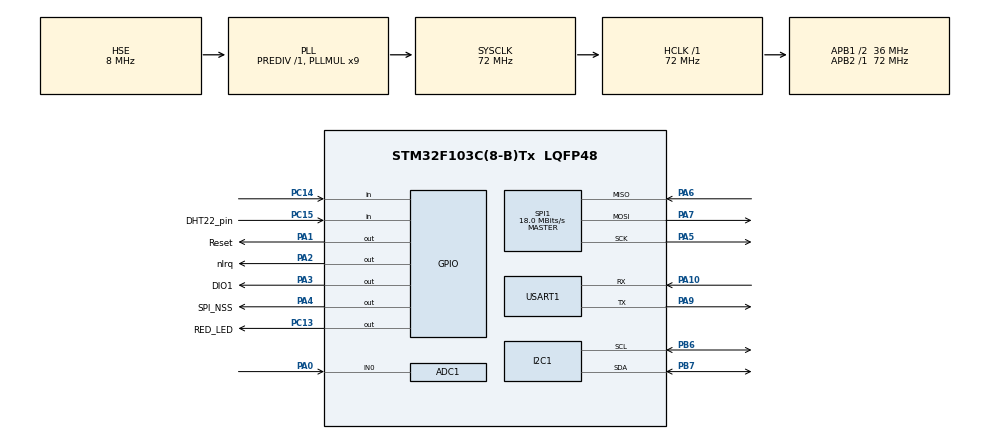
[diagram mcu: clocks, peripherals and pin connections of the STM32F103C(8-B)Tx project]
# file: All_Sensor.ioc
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ADC1.Channel-11\#ChannelRegularConversion=ADC_CHANNEL_0
ADC1.ContinuousConvMode=DISABLE
ADC1.DataAlign=ADC_DATAALIGN_RIGHT
ADC1.DiscontinuousConvMode=DISABLE
ADC1.EnableAnalogWatchDog=false
ADC1.EnableRegularConversion=ENABLE
ADC1.ExternalTrigConv=ADC_SOFTWARE_START
ADC1.InjNumberOfConversion=0
ADC1.NbrOfConversion=1
ADC1.NbrOfConversionFlag=1
ADC1.Rank-11\#ChannelRegularConversion=1
ADC1.SamplingTime-11\#ChannelRegularConversion=ADC_SAMPLETIME_1CYCLE_5
ADC1.ScanConvMode=ADC_SCAN_DISABLE
ADC1.master=1
Mcu.Family=STM32F1
Mcu.Name=STM32F103C(8-B)Tx
Mcu.Package=LQFP48
NVIC.PriorityGroup=NVIC_PRIORITYGROUP_4
PA0-WKUP.Signal=ADCx_IN0
PA1.GPIO_Label=Reset
PA1.Signal=GPIO_Output
PA10.Mode=Asynchronous
PA10.Signal=USART1_RX
PA13.Mode=Serial_Wire
PA13.Signal=SYS_JTMS-SWDIO
PA14.Mode=Serial_Wire
PA14.Signal=SYS_JTCK-SWCLK
PA2.GPIO_Label=nIrq
PA2.Signal=GPIO_Output
PA3.GPIO_Label=DIO1
PA3.Signal=GPIO_Output
PA4.GPIO_Label=SPI_NSS
PA4.Signal=GPIO_Output
PA5.Mode=Full_Duplex_Master
PA5.Signal=SPI1_SCK
PA6.Mode=Full_Duplex_Master
PA6.Signal=SPI1_MISO
PA7.Mode=Full_Duplex_Master
PA7.Signal=SPI1_MOSI
PA9.Mode=Asynchronous
PA9.Signal=USART1_TX
PB6.Mode=I2C
PB6.Signal=I2C1_SCL
PB7.Mode=I2C
PB7.Signal=I2C1_SDA
PC13-TAMPER-RTC.GPIO_Label=RED_LED
PC13-TAMPER-RTC.Signal=GPIO_Output
PC14-OSC32_IN.Signal=GPIO_Input
PC15-OSC32_OUT.GPIO_Label=DHT22_pin
PC15-OSC32_OUT.Signal=GPIO_Input
PD0-OSC_IN.Mode=HSE-External-Oscillator
PD0-OSC_IN.Signal=RCC_OSC_IN
PD1-OSC_OUT.Mode=HSE-External-Oscillator
PD1-OSC_OUT.Signal=RCC_OSC_OUT
ProjectManager.HeapSize=0x200
ProjectManager.StackSize=0x400
ProjectManager.TargetToolchain=MDK-ARM V5
RCC.ADCPresc=RCC_ADCPCLK2_DIV6
RCC.AHBFreq_Value=72000000
RCC.APB1CLKDivider=RCC_HCLK_DIV2
RCC.APB1Freq_Value=36000000
RCC.APB1TimFreq_Value=72000000
RCC.APB2Freq_Value=72000000
RCC.APB2TimFreq_Value=72000000
RCC.HCLKFreq_Value=72000000
RCC.PLLMUL=RCC_PLL_MUL9
RCC.PLLSourceVirtual=RCC_PLLSOURCE_HSE
RCC.SYSCLKFreq_VALUE=72000000
RCC.SYSCLKSource=RCC_SYSCLKSOURCE_PLLCLK
RCC.USBFreq_Value=72000000
SH.ADCx_IN0.0=ADC1_IN0,IN0
SPI1.BaudRatePrescaler=SPI_BAUDRATEPRESCALER_4
SPI1.CalculateBaudRate=18.0 MBits/s
SPI1.Direction=SPI_DIRECTION_2LINES
SPI1.Mode=SPI_MODE_MASTER
SPI1.VirtualType=VM_MASTER
TIM1.Period=0xffff
TIM1.Prescaler=72-1
USART1.VirtualMode=VM_ASYNC
VP_TIM1_VS_ClockSourceINT.Mode=Internal
board=ADC_UART

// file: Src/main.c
/**
  ******************************************************************************
  * File Name          : main.c
  * Description        : Main program body
  ******************************************************************************
  ** This notice applies to any and all portions of this file
  * that are not between comment pairs USER CODE BEGIN and
  * USER CODE END. Other portions of this file, whether
  * inserted by the user or by software development tools
  * are owned by their respective copyright owners.
  *
  * COPYRIGHT(c) 2020 STMicroelectronics
  *
  * Redistribution and use in source and binary forms, with or without modification,
  * are permitted provided that the following conditions are met:
  *   1. Redistributions of source code must retain the above copyright notice,
  *      this list of conditions and the following disclaimer.
  *   2. Redistributions in binary form must reproduce the above copyright notice,
  *      this list of conditions and the following disclaimer in the documentation
  *      and/or other materials provided with the distribution.
  *   3. Neither the name of STMicroelectronics nor the names of its contributors
  *      may be used to endorse or promote products derived from this software
  *      without specific prior written permission.
  *
  * THIS SOFTWARE IS PROVIDED BY THE COPYRIGHT HOLDERS AND CONTRIBUTORS "AS IS"
  * AND ANY EXPRESS OR IMPLIED WARRANTIES, INCLUDING, BUT NOT LIMITED TO, THE
  * IMPLIED WARRANTIES OF MERCHANTABILITY AND FITNESS FOR A PARTICULAR PURPOSE ARE
  * DISCLAIMED. IN NO EVENT SHALL THE COPYRIGHT HOLDER OR CONTRIBUTORS BE LIABLE
  * FOR ANY DIRECT, INDIRECT, INCIDENTAL, SPECIAL, EXEMPLARY, OR CONSEQUENTIAL
  * DAMAGES (INCLUDING, BUT NOT LIMITED TO, PROCUREMENT OF SUBSTITUTE GOODS OR
  * SERVICES; LOSS OF USE, DATA, OR PROFITS; OR BUSINESS INTERRUPTION) HOWEVER
  * CAUSED AND ON ANY THEORY OF LIABILITY, WHETHER IN CONTRACT, STRICT LIABILITY,
  * OR TORT (INCLUDING NEGLIGENCE OR OTHERWISE) ARISING IN ANY WAY OUT OF THE USE
  * OF THIS SOFTWARE, EVEN IF ADVISED OF THE POSSIBILITY OF SUCH DAMAGE.
  *
  ******************************************************************************
  */
#include "main.h"
#include "stm32f1xx_hal.h"

/* USER CODE BEGIN Includes */
#include "mainApp.h"
#include "stdio.h"
#include "stdlib.h"
#include "stdbool.h"
#include "bmp280.h"
#include "math.h"

/* USER CODE END Includes */

ADC_HandleTypeDef hadc1;

I2C_HandleTypeDef hi2c1;

SPI_HandleTypeDef hspi1;

TIM_HandleTypeDef htim1;

UART_HandleTypeDef huart1;

/* USER CODE BEGIN PV */
/* Private variables ---------------------------------------------------------*/

/* USER CODE END PV */

void SystemClock_Config(void);
static void MX_GPIO_Init(void);
static void MX_USART1_UART_Init(void);
static void MX_ADC1_Init(void);
static void MX_SPI1_Init(void);
static void MX_TIM1_Init(void);
static void MX_I2C1_Init(void);

/* USER CODE BEGIN PFP */
/* Private function prototypes -----------------------------------------------*/
//********************************
// Be sure to have proper 3.3vlt power supply
// ADC and DHT22 consume lots of lower
//********************************
//===============================
//			DHT		      	STM32f103
//-------------------------------
//		DATA OUT					PC15
//      VCC             3.3vlt
//      GND             Gnd
//===============================
//     Touch 					STM32F103
// -------------------------------
//     Output	 					PC14
//================================
// (gnd)---LDR----|----10k---3.3
//								PA0
//--------------------------------
//      ADC						STM32F103
//--------------------------------
//			out						   PA0
//      LDR Pin					 GND
//			10k pin					 Vcc(3.3)
//================================
//     UART           STM32f103
//--------------------------------
//      RX               PA9
//      TX							 PA10
//================================
//	  BMP280      STM32F103
// 	   VCC          3.3vlt
//   	 Gnd          Gnd
//   	 SCL          B6
//   	 SDA          B7
//********************************

/* USER CODE END PFP */

/* USER CODE BEGIN 0 */

uint8_t Rh_byte1, Rh_byte2, Temp_byte1, Temp_byte2;
uint16_t sum, RH, TEMP;
uint8_t check = 0;
float t,r;
bool touch ;
uint16_t adcResult = 0;
float altitude ,pressure, p, temperature, humidity;

uint16_t size;
uint8_t Data[25];
float lumen;

//**************************************************
//char buf_temp[100],buf_humid[100];
char buff[100];
//char transmit_char[100];
//**************************************************

void delay_us (uint16_t us);
void set_gpio_input (void);
void set_gpio_output(void);
void DHT22_start (void);
void check_response (void);
uint8_t read_data (void);
long map(long x, long in_min, long in_max, long out_min, long out_max);

GPIO_InitTypeDef GPIO_InitStruct;
BMP280_HandleTypedef bmp280;

/* USER CODE END 0 */

int main(void)
{

  /* MCU Configuration----------------------------------------------------------*/

  /* Reset of all peripherals, Initializes the Flash interface and the Systick. */
  HAL_Init();

  /* Configure the system clock */
  SystemClock_Config();

  /* Initialize all configured peripherals */
  MX_GPIO_Init();
  MX_USART1_UART_Init();
  MX_ADC1_Init();
  MX_SPI1_Init();
  MX_TIM1_Init();
  MX_I2C1_Init();

  /* USER CODE BEGIN 2 */
	HAL_TIM_Base_Start(&htim1);
	HAL_UART_Transmit(&huart1, (uint8_t *)"STARTING SENSORS READING\r\n",sizeof("STARTING SENSORS READING\r\n"),100);
	HAL_Delay(1000);

	bmp280_init_default_params(&bmp280.params);
	bmp280.addr = BMP280_I2C_ADDRESS_0;
	bmp280.i2c = &hi2c1;

	HAL_Delay(500);
	HAL_UART_Transmit(&huart1,(uint8_t *) " Trying BMP280 initialization\r\n",sizeof(" Trying BMP280 initialization\r\n"), 100);
	while (!(bmp280_init(&bmp280, &bmp280.params)))
		{
			HAL_UART_Transmit(&huart1, (uint8_t*)".", sizeof("."), 1000);
			bmp280_init_default_params(&bmp280.params);
			HAL_Delay(90);
		}
	bool bme280p = bmp280.id == BMP280_CHIP_ID;
	size = sprintf((char *)Data, "BMP280: found %s\r\n", bme280p ? "BME280" : "BMP280");
	HAL_UART_Transmit(&huart1, Data, size, 1000);

  /* USER CODE END 2 */

  /* Infinite loop */
  while (1)
  {

  /* USER CODE BEGIN 3 */
//====================DHT22====================================
		DHT22_start ();
		check_response();

		Rh_byte1 = read_data ();
		Rh_byte2 = read_data ();
		Temp_byte1 = read_data ();
		Temp_byte2 = read_data ();
		sum = read_data();

		TEMP = ((Temp_byte1<<8)|Temp_byte2);
		RH = ((Rh_byte1<<8)|Rh_byte2);

   	t=TEMP*0.1;
	  r=RH*0.1;

//===============================================================
//=============================ADC DATA=======================
				HAL_ADC_Start(&hadc1);
				HAL_ADC_PollForConversion(&hadc1, 100);

				adcResult = HAL_ADC_GetValue(&hadc1);

				HAL_ADC_Stop(&hadc1);
				lumen =  map(adcResult, 3300.00 , 700.00, 0.0 , 100.0);
//=============================================================
				HAL_Delay(100);
//==========================Read BMP280 Data===================
		if (!bmp280_read_float(&bmp280, &temperature, &pressure, &humidity))
			{
				pressure = 0;
				altitude = 0;

//			//size = sprintf((char *)Data,
//					"Temperature/pressure reading failed\n");
//			//HAL_UART_Transmit(&huart1, Data, size, 1000);
//			//HAL_Delay(100);
				}
		else
			{
				p = pressure/100;
				altitude = 44330.0*(1-pow(p/1013.25, 1/5.255));
			}
		//  size = sprintf((char *)Data,"\nPressure: %.2f Pa, Temperature: %.2f C , Altitude: %.2f m\r\n",
		//		pressure, temperature , altitude);
		//size = sprintf((char *)Data,"\nPressure: %.2f Pa, Temperature: %.2f C \r\n",
		//		pressure, temperature);
		//HAL_UART_Transmit(&huart1, Data, size, 1000);
//		if (bme280p) {
//			//size = sprintf((char *)Data,", Humidity: %.2f\n", humidity);
//			//HAL_UART_Transmit(&huart1, Data, size, 1000);
//		}

//		else {
//			size = sprintf((char *)Data, "\n");
//			HAL_UART_Transmit(&huart1, Data, size, 1000);
//		}
		HAL_Delay(500);
//========================================================================
//====================================Touch read==========================
			touch = 	HAL_GPIO_ReadPin(GPIOC,GPIO_PIN_14);
//========================================================================
			int len = sprintf(buff," sw :%s lum :%.2f T :%.2f H :%.2f P: %.2f Alt: %.2f\r\n", (touch ? "ON" : "OFF"),lumen ,t,r,pressure,altitude);
			HAL_UART_Transmit(&huart1,(uint8_t *) buff, len, 100);
			HAL_Delay(500);

	// mainApp();
  }
  /* USER CODE END 3 */

}

/** System Clock Configuration
*/
void SystemClock_Config(void)
{

  RCC_OscInitTypeDef RCC_OscInitStruct;
  RCC_ClkInitTypeDef RCC_ClkInitStruct;
  RCC_PeriphCLKInitTypeDef PeriphClkInit;

    /**Initializes the CPU, AHB and APB busses clocks
    */
  RCC_OscInitStruct.OscillatorType = RCC_OSCILLATORTYPE_HSE;
  RCC_OscInitStruct.HSEState = RCC_HSE_ON;
  RCC_OscInitStruct.HSEPredivValue = RCC_HSE_PREDIV_DIV1;
  RCC_OscInitStruct.HSIState = RCC_HSI_ON;
  RCC_OscInitStruct.PLL.PLLState = RCC_PLL_ON;
  RCC_OscInitStruct.PLL.PLLSource = RCC_PLLSOURCE_HSE;
  RCC_OscInitStruct.PLL.PLLMUL = RCC_PLL_MUL9;
  if (HAL_RCC_OscConfig(&RCC_OscInitStruct) != HAL_OK)
  {
    _Error_Handler(__FILE__, __LINE__);
  }

    /**Initializes the CPU, AHB and APB busses clocks
    */
  RCC_ClkInitStruct.ClockType = RCC_CLOCKTYPE_HCLK|RCC_CLOCKTYPE_SYSCLK
                              |RCC_CLOCKTYPE_PCLK1|RCC_CLOCKTYPE_PCLK2;
  RCC_ClkInitStruct.SYSCLKSource = RCC_SYSCLKSOURCE_PLLCLK;
  RCC_ClkInitStruct.AHBCLKDivider = RCC_SYSCLK_DIV1;
  RCC_ClkInitStruct.APB1CLKDivider = RCC_HCLK_DIV2;
  RCC_ClkInitStruct.APB2CLKDivider = RCC_HCLK_DIV1;

  if (HAL_RCC_ClockConfig(&RCC_ClkInitStruct, FLASH_LATENCY_2) != HAL_OK)
  {
    _Error_Handler(__FILE__, __LINE__);
  }

  PeriphClkInit.PeriphClockSelection = RCC_PERIPHCLK_ADC;
  PeriphClkInit.AdcClockSelection = RCC_ADCPCLK2_DIV6;
  if (HAL_RCCEx_PeriphCLKConfig(&PeriphClkInit) != HAL_OK)
  {
    _Error_Handler(__FILE__, __LINE__);
  }

    /**Configure the Systick interrupt time
    */
  HAL_SYSTICK_Config(HAL_RCC_GetHCLKFreq()/1000);

    /**Configure the Systick
    */
  HAL_SYSTICK_CLKSourceConfig(SYSTICK_CLKSOURCE_HCLK);

  /* SysTick_IRQn interrupt configuration */
  HAL_NVIC_SetPriority(SysTick_IRQn, 0, 0);
}

/* ADC1 init function */
static void MX_ADC1_Init(void)
{

  ADC_ChannelConfTypeDef sConfig;

    /**Common config
    */
  hadc1.Instance = ADC1;
  hadc1.Init.ScanConvMode = ADC_SCAN_DISABLE;
  hadc1.Init.ContinuousConvMode = DISABLE;
  hadc1.Init.DiscontinuousConvMode = DISABLE;
  hadc1.Init.ExternalTrigConv = ADC_SOFTWARE_START;
  hadc1.Init.DataAlign = ADC_DATAALIGN_RIGHT;
  hadc1.Init.NbrOfConversion = 1;
  if (HAL_ADC_Init(&hadc1) != HAL_OK)
  {
    _Error_Handler(__FILE__, __LINE__);
  }

    /**Configure Regular Channel
    */
  sConfig.Channel = ADC_CHANNEL_0;
  sConfig.Rank = 1;
  sConfig.SamplingTime = ADC_SAMPLETIME_1CYCLE_5;
  if (HAL_ADC_ConfigChannel(&hadc1, &sConfig) != HAL_OK)
  {
    _Error_Handler(__FILE__, __LINE__);
  }

}

/* I2C1 init function */
static void MX_I2C1_Init(void)
{

  hi2c1.Instance = I2C1;
  hi2c1.Init.ClockSpeed = 100000;
  hi2c1.Init.DutyCycle = I2C_DUTYCYCLE_2;
  hi2c1.Init.OwnAddress1 = 0;
  hi2c1.Init.AddressingMode = I2C_ADDRESSINGMODE_7BIT;
  hi2c1.Init.DualAddressMode = I2C_DUALADDRESS_DISABLE;
  hi2c1.Init.OwnAddress2 = 0;
  hi2c1.Init.GeneralCallMode = I2C_GENERALCALL_DISABLE;
  hi2c1.Init.NoStretchMode = I2C_NOSTRETCH_DISABLE;
  if (HAL_I2C_Init(&hi2c1) != HAL_OK)
  {
    _Error_Handler(__FILE__, __LINE__);
  }

}

/* SPI1 init function */
static void MX_SPI1_Init(void)
{

  hspi1.Instance = SPI1;
  hspi1.Init.Mode = SPI_MODE_MASTER;
  hspi1.Init.Direction = SPI_DIRECTION_2LINES;
  hspi1.Init.DataSize = SPI_DATASIZE_8BIT;
  hspi1.Init.CLKPolarity = SPI_POLARITY_LOW;
  hspi1.Init.CLKPhase = SPI_PHASE_1EDGE;
  hspi1.Init.NSS = SPI_NSS_SOFT;
  hspi1.Init.BaudRatePrescaler = SPI_BAUDRATEPRESCALER_4;
  hspi1.Init.FirstBit = SPI_FIRSTBIT_MSB;
  hspi1.Init.TIMode = SPI_TIMODE_DISABLE;
  hspi1.Init.CRCCalculation = SPI_CRCCALCULATION_DISABLE;
  hspi1.Init.CRCPolynomial = 10;
  if (HAL_SPI_Init(&hspi1) != HAL_OK)
  {
    _Error_Handler(__FILE__, __LINE__);
  }

}

/* TIM1 init function */
static void MX_TIM1_Init(void)
{

  TIM_ClockConfigTypeDef sClockSourceConfig;
  TIM_MasterConfigTypeDef sMasterConfig;

  htim1.Instance = TIM1;
  htim1.Init.Prescaler = 72-1;
  htim1.Init.CounterMode = TIM_COUNTERMODE_UP;
  htim1.Init.Period = 0xffff;
  htim1.Init.ClockDivision = TIM_CLOCKDIVISION_DIV1;
  htim1.Init.RepetitionCounter = 0;
  htim1.Init.AutoReloadPreload = TIM_AUTORELOAD_PRELOAD_DISABLE;
  if (HAL_TIM_Base_Init(&htim1) != HAL_OK)
  {
    _Error_Handler(__FILE__, __LINE__);
  }

  sClockSourceConfig.ClockSource = TIM_CLOCKSOURCE_INTERNAL;
  if (HAL_TIM_ConfigClockSource(&htim1, &sClockSourceConfig) != HAL_OK)
  {
    _Error_Handler(__FILE__, __LINE__);
  }

  sMasterConfig.MasterOutputTrigger = TIM_TRGO_RESET;
  sMasterConfig.MasterSlaveMode = TIM_MASTERSLAVEMODE_DISABLE;
  if (HAL_TIMEx_MasterConfigSynchronization(&htim1, &sMasterConfig) != HAL_OK)
  {
    _Error_Handler(__FILE__, __LINE__);
  }

}

/* USART1 init function */
static void MX_USART1_UART_Init(void)
{

  huart1.Instance = USART1;
  huart1.Init.BaudRate = 115200;
  huart1.Init.WordLength = UART_WORDLENGTH_8B;
  huart1.Init.StopBits = UART_STOPBITS_1;
  huart1.Init.Parity = UART_PARITY_NONE;
  huart1.Init.Mode = UART_MODE_TX_RX;
  huart1.Init.HwFlowCtl = UART_HWCONTROL_NONE;
  huart1.Init.OverSampling = UART_OVERSAMPLING_16;
  if (HAL_UART_Init(&huart1) != HAL_OK)
  {
    _Error_Handler(__FILE__, __LINE__);
  }

}

/** Configure pins as
        * Analog
        * Input
        * Output
        * EVENT_OUT
        * EXTI
*/
static void MX_GPIO_Init(void)
{

  GPIO_InitTypeDef GPIO_InitStruct;

  /* GPIO Ports Clock Enable */
  __HAL_RCC_GPIOC_CLK_ENABLE();
  __HAL_RCC_GPIOD_CLK_ENABLE();
  __HAL_RCC_GPIOA_CLK_ENABLE();
  __HAL_RCC_GPIOB_CLK_ENABLE();

  /*Configure GPIO pin Output Level */
  HAL_GPIO_WritePin(RED_LED_GPIO_Port, RED_LED_Pin, GPIO_PIN_RESET);

  /*Configure GPIO pin Output Level */
  HAL_GPIO_WritePin(GPIOA, Reset_Pin|nIrq_Pin|DIO1_Pin|SPI_NSS_Pin, GPIO_PIN_RESET);

  /*Configure GPIO pin : RED_LED_Pin */
  GPIO_InitStruct.Pin = RED_LED_Pin;
  GPIO_InitStruct.Mode = GPIO_MODE_OUTPUT_PP;
  GPIO_InitStruct.Speed = GPIO_SPEED_FREQ_LOW;
  HAL_GPIO_Init(RED_LED_GPIO_Port, &GPIO_InitStruct);

  /*Configure GPIO pins : PC14 DHT22_pin_Pin */
  GPIO_InitStruct.Pin = GPIO_PIN_14|DHT22_pin_Pin;
  GPIO_InitStruct.Mode = GPIO_MODE_INPUT;
  GPIO_InitStruct.Pull = GPIO_NOPULL;
  HAL_GPIO_Init(GPIOC, &GPIO_InitStruct);

  /*Configure GPIO pins : Reset_Pin nIrq_Pin DIO1_Pin SPI_NSS_Pin */
  GPIO_InitStruct.Pin = Reset_Pin|nIrq_Pin|DIO1_Pin|SPI_NSS_Pin;
  GPIO_InitStruct.Mode = GPIO_MODE_OUTPUT_PP;
  GPIO_InitStruct.Speed = GPIO_SPEED_FREQ_LOW;
  HAL_GPIO_Init(GPIOA, &GPIO_InitStruct);

}

/* USER CODE BEGIN 4 */
void set_gpio_output (void)
{
	/*Configure GPIO pin output: PC15 */
  GPIO_InitStruct.Pin = DHT22_pin_Pin;
  GPIO_InitStruct.Mode = GPIO_MODE_OUTPUT_PP;
  GPIO_InitStruct.Speed = GPIO_SPEED_FREQ_LOW;
  HAL_GPIO_Init(DHT22_pin_GPIO_Port, &GPIO_InitStruct);
}

void set_gpio_input (void)
{
	/*Configure GPIO pin input: PC15 */
  GPIO_InitStruct.Pin = DHT22_pin_Pin;
  GPIO_InitStruct.Mode = GPIO_MODE_INPUT;
  GPIO_InitStruct.Pull = GPIO_NOPULL;
  HAL_GPIO_Init(DHT22_pin_GPIO_Port, &GPIO_InitStruct);
}

void delay_us (uint16_t us)
{
	__HAL_TIM_SET_COUNTER(&htim1,0);   //set the counter value to zero
	while(__HAL_TIM_GET_COUNTER(&htim1) < us); //wait for the counter to reach the us input in the parameter
}

void DHT22_start (void)
{
	set_gpio_output ();  // set the pin as output
	HAL_GPIO_WritePin (DHT22_pin_GPIO_Port, DHT22_pin_Pin ,GPIO_PIN_RESET);   // pull the pin low
	//delay_us(500);
	delay_us(500);   // wait for 500us
	HAL_GPIO_WritePin (DHT22_pin_GPIO_Port, GPIO_PIN_1,GPIO_PIN_SET);   // pull the pin high
	//delay_us(30);
	delay_us(30);   // wait for 30us
	set_gpio_input ();   // set as input
}

void check_response (void)
{
	delay_us(40);  // wait for 40us
	if (!(HAL_GPIO_ReadPin (DHT22_pin_GPIO_Port, DHT22_pin_Pin))) // if the pin is low
	{

		delay_us(80);   // wait for 80us
		if ((HAL_GPIO_ReadPin (DHT22_pin_GPIO_Port, DHT22_pin_Pin)))  check = 1;  // if the pin is high, response is ok
	}
	while((HAL_GPIO_ReadPin (DHT22_pin_GPIO_Port, DHT22_pin_Pin)));   // wait for the pin to go low
}

uint8_t read_data (void)
{
	uint8_t i,j;
	for (j=0;j<8;j++)
	{
		while (!(HAL_GPIO_ReadPin (DHT22_pin_GPIO_Port, DHT22_pin_Pin)));   // wait for the pin to go high

		delay_us(40);   // wait for 40 us
		if ((HAL_GPIO_ReadPin (DHT22_pin_GPIO_Port, DHT22_pin_Pin)) == 0)   // if the pin is low
		{
			i&= ~(1<<(7-j));   // write 0
		}
		else i|= (1<<(7-j));  // if the pin is high, write 1
		while ((HAL_GPIO_ReadPin (DHT22_pin_GPIO_Port, DHT22_pin_Pin)));  // wait for the pin to go low
	}
	return i;
}

long map(long x, long in_min, long in_max, long out_min, long out_max)
    {
        return (x - in_min) * (out_max - out_min) / (in_max - in_min) + out_min;
    }
/* USER CODE END 4 */

void _Error_Handler(char * file, int line)
{
}

/************************ (C) COPYRIGHT STMicroelectronics *****END OF FILE****/
